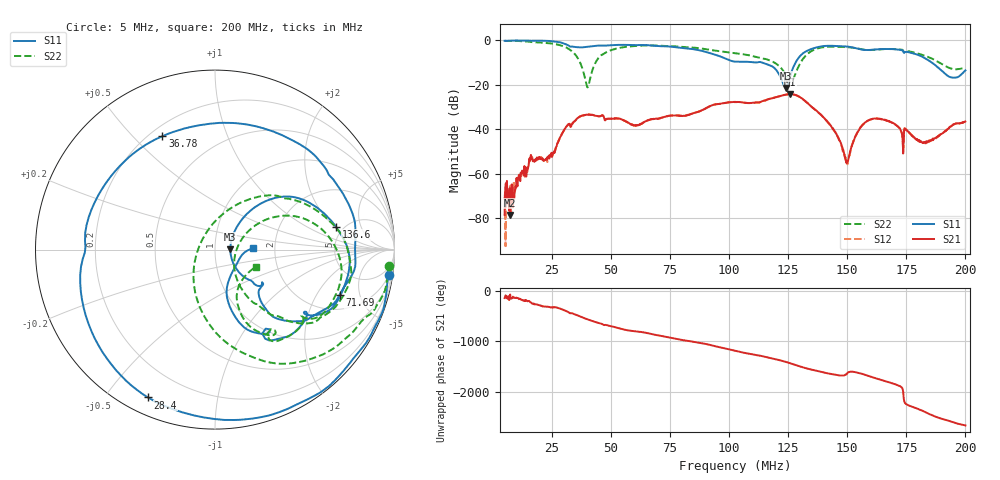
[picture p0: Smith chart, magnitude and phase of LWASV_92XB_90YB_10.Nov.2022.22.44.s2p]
!Keysight Technologies N9917A: A.12.46
!Date: Thursday, 10 November 2022 22:44:44
!Timezone: (UTC) Coordinated Universal Time
!Model: N9917A
!Serial: MY56071016
!GPS Latitude:
!GPS Longitude:
!GPS TimeStamp: 0001-01-01 00:00:00Z
!GPS Seconds Since Last Read: 0
!CHECKSUM:1100358865
!Correction: S11(ON U)S21(ON U)S12(ON U)S22(ON U)
!S2P File: Measurements:S11,S21,S12,S22:
# Hz S DB R 50
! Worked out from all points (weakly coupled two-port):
!   1001 points, 5 MHz to 200 MHz, reference 50 ohm
!   highest |S21| = -24.18 dB at 125.9 MHz (marker M1); lowest = -78.5 dB at 7.34 MHz (marker M2)
!   lowest |S11| = -21.4 dB at 124 MHz (marker M3), VSWR 1.19, Z = 59.3 + j0.172 ohm
!   |S11| at or under -10 dB: 114 MHz to 128.1 MHz (14.1 MHz wide, 11.6 % of centre); 185.8 MHz to end of sweep
!   |S22| runs from -21.1 to -0.2 dB; largest |S21 - S12| = 0.0014
!   S11 on the Smith chart (normalised r, x): 5 MHz: 2, -14; 28.4 MHz: 0.07, -0.64; 36.78 MHz: 0.25, +0.61; 71.69 MHz: 2.90, -3.21; 136.6 MHz: 4.35, +2.07; 200 MHz: 1.54, +0.03
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5000000  -0.19 -8.2  -78.48 -138.2  -71.60 -2.1  -0.23 -5.2
7340000  -0.14 -13.8  -78.55 -69.1  -70.02 -83.6  -0.25 -9.3
2.0015e7  -0.09 -51.9  -53.20 72.7  -53.04 72.7  -0.96 -30.8
2.84e7  -0.87 -114.4  -43.76 11.5  -43.94 11.3  -2.16 -53.6
3.2495e7  -2.63 -175.9  -37.48 -74.8  -37.55 -74.7  -4.13 -72.0
3.6785e7  -3.14 114.9  -34.32 -141.8  -34.33 -141.1  -9.60 -104.8
3.7565e7  -3.15 104.4  -33.95 -156.9  -33.92 -156.7  -11.58 -114.7
4.0295e7  -2.85 74.9  -33.43 153.3  -33.40 153.7  -20.95 142.3
4.9265e7  -2.24 26.2  -35.18 30.3  -35.19 29.3  -4.72 24.6
7.013e7  -2.55 -17.3  -35.15 -160.9  -35.20 -161.5  -2.37 -18.5
7.169e7  -2.64 -20.0  -34.72 -175.4  -34.62 -175.2  -2.42 -20.7
1.025e8  -9.56 -42.2  -27.83 -107.8  -27.61 -106.5  -5.78 -46.3
1.1771e8  -11.43 -40.7  -26.16 106.2  -26.14 106.2  -9.24 -54.9
1.2395e8  -21.36 1.0  -24.43 31.2  -24.44 31.4  -15.39 -49.1
1.259e8  -15.81 44.7  -24.18 2.8  -24.20 2.7  -18.67 -18.8
1.35065e8  -3.79 17.3  -29.93 -126.2  -29.95 -126.2  -4.70 13.4
1.36625e8  -3.27 10.6  -31.35 -143.9  -31.38 -143.2  -3.92 6.7
1.49885e8  -2.74 -26.5  -54.25 155.3  -54.80 161.2  -3.04 -29.1
1.571e8  -4.28 -35.6  -37.32 139.7  -37.38 139.3  -4.18 -37.5
1.6763e8  -3.89 -44.4  -36.40 -14.6  -36.44 -14.2  -3.86 -43.9
1.8245e8  -7.74 -72.4  -45.91 124.3  -45.82 124.3  -6.76 -66.0
2e8  -13.48 2.1  -36.50 -154.5  -36.60 -154.6  -12.14 -23.1
